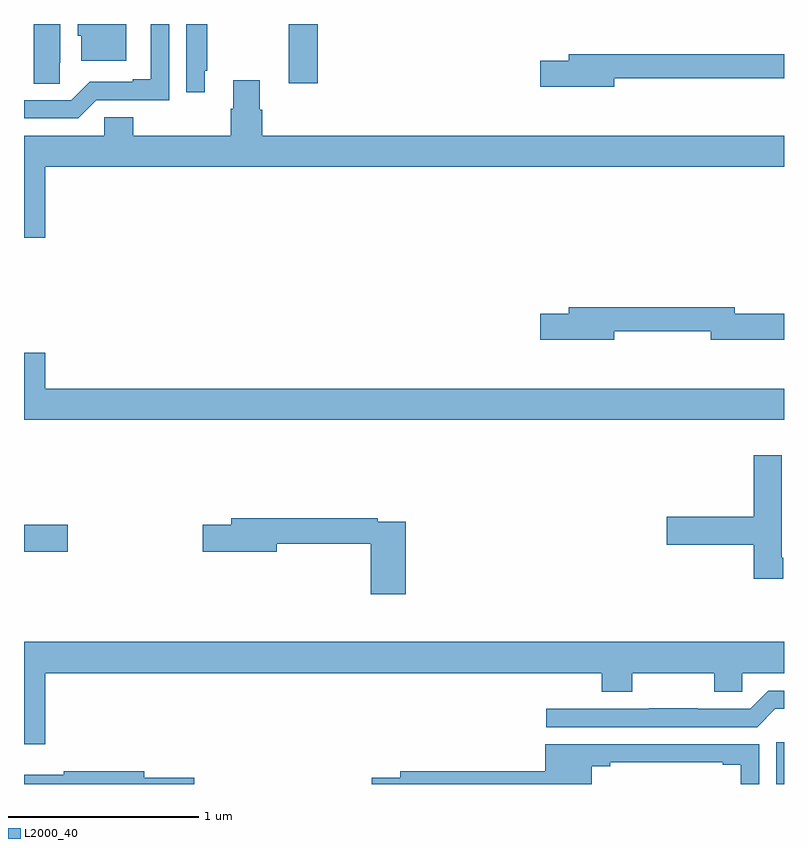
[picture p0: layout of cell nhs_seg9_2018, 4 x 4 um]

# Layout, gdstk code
import gdstk
lib = gdstk.Library(unit=1e-6, precision=1e-09)
def R(c, l, rs):  # rectangles x0, y0, x1, y1
    for r in rs: c.add(gdstk.rectangle(r[:2], r[2:], *l))
def P(c, l, *ps):  # polygons
    for p in ps: c.add(gdstk.Polygon(p, *l))
L2000_40 = (2000, 40)

nhs_seg9_2018 = lib.new_cell('nhs_seg9_2018')
R(nhs_seg9_2018, L2000_40, [(228.96,1198.5,229,1198.72), (225,1199.722,225.229,1199.864), (226.393,1202.187,226.547,1202.5)])
P(nhs_seg9_2018, L2000_40, [(225.381,1202.1),(225.765,1202.1),(225.765,1202.5),(225.668,1202.5),(225.668,1202.209),(225.572,1202.209),(225.572,1202.196),(225.345,1202.196),(225.249,1202.1),(225,1202.1),(225,1202.004),(225.285,1202.004)],
  [(225.952,1202.254),(225.964,1202.254),(225.964,1202.5),(225.855,1202.5),(225.855,1202.142),(225.952,1202.142)],
  [(225.189,1202.296),(225.19,1202.296),(225.19,1202.5),(225.05,1202.5),(225.05,1202.185),(225.189,1202.185)],
  [(225.538,1202.5),(225.284,1202.5),(225.284,1202.439),(225.302,1202.439),(225.302,1202.306),(225.538,1202.306)],
  [(228.106,1202.214),(229,1202.214),(229,1202.342),(227.867,1202.342),(227.867,1202.306),(227.718,1202.306),(227.718,1202.171),(228.106,1202.171)],
  [(225.112,1201.748),(229,1201.748),(229,1201.912),(226.253,1201.912),(226.253,1202.049),(226.24,1202.049),(226.24,1202.203),(226.1,1202.203),(226.1,1202.054),(226.088,1202.054),(226.088,1201.912),(225.575,1201.912),(225.575,1202.01),(225.423,1202.01),(225.423,1201.912),(225,1201.912),(225,1201.374),(225.112,1201.374)],
  [(228.106,1200.882),(228.614,1200.882),(228.614,1200.839),(229,1200.839),(229,1200.974),(228.742,1200.974),(228.742,1201.01),(227.867,1201.01),(227.867,1200.974),(227.718,1200.974),(227.718,1200.839),(228.106,1200.839)],
  [(229,1200.58),(225.112,1200.58),(225.112,1200.769),(225,1200.769),(225,1200.416),(229,1200.416)],
  [(228.996,1199.692),(228.988,1199.692),(228.988,1200.229),(228.842,1200.229),(228.842,1199.906),(228.384,1199.906),(228.384,1199.759),(228.842,1199.759),(228.842,1199.58),(228.996,1199.58)],
  [(227.009,1199.88),(226.862,1199.88),(226.862,1199.9),(226.091,1199.9),(226.091,1199.864),(225.942,1199.864),(225.942,1199.722),(226.33,1199.722),(226.33,1199.764),(226.826,1199.764),(226.826,1199.499),(227.009,1199.499)],
  [(225.112,1199.084),(228.041,1199.084),(228.041,1198.985),(228.201,1198.985),(228.201,1199.084),(228.634,1199.084),(228.634,1198.986),(228.78,1198.986),(228.78,1199.084),(229,1199.084),(229,1199.248),(225,1199.248),(225,1198.71),(225.112,1198.71)],
  [(228.954,1198.895),(229,1198.895),(229,1198.992),(228.918,1198.992),(228.822,1198.896),(228.545,1198.896),(228.545,1198.898),(228.289,1198.898),(228.289,1198.896),(227.748,1198.896),(227.748,1198.8),(228.859,1198.8)],
  [(227.989,1198.594),(228.085,1198.594),(228.085,1198.614),(228.677,1198.614),(228.677,1198.602),(228.773,1198.602),(228.773,1198.5),(228.87,1198.5),(228.87,1198.71),(227.744,1198.71),(227.744,1198.568),(226.979,1198.568),(226.979,1198.532),(226.83,1198.532),(226.83,1198.5),(227.989,1198.5)],
  [(225.895,1198.532),(225.634,1198.532),(225.634,1198.568),(225.208,1198.568),(225.208,1198.549),(225,1198.549),(225,1198.5),(225.895,1198.5)])

lib.write_gds('nhs_seg9_2018.gds')
